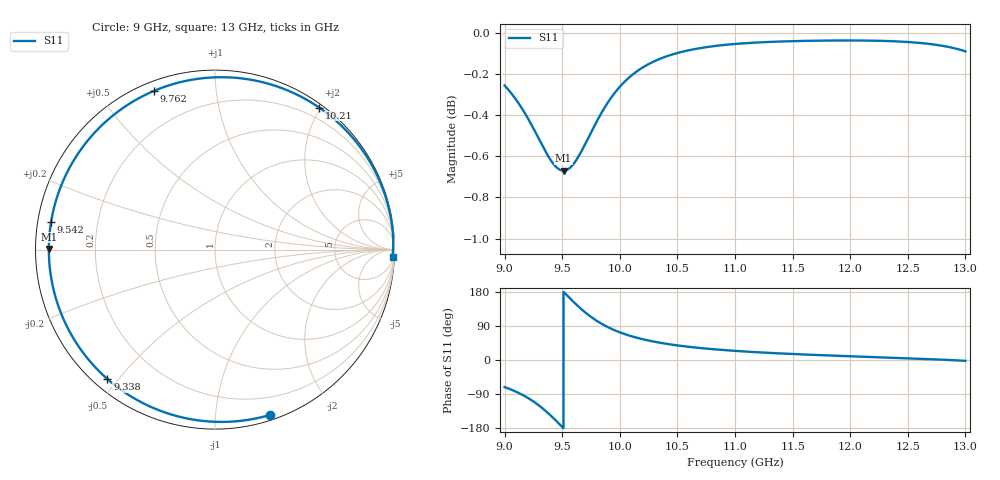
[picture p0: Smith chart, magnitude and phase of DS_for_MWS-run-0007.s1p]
! TOUCHSTONE file generated by CST DESIGN STUDIO
! Date and time: Tue Feb  4 14:23:06 2025
! Project name: C:\Work\MatlabApps\UnitCellOptimizationMatlab\CST\unitcell.cst
! Tree item: Tasks\Sweep1\SPara1\S-Parameters
! Header version: 2024
! Port assignment regex: !\s*Touchstone port\s*([0-9]+)\s*=\s*(CST MWS port|CST DES external port|CST DES block port)\s*(.+)\s* \(\"(.*)\"\)(\s*mode\s*([0-9]+))?.*
! Touchstone port assignment:
! Touchstone port 1 = CST DES external port 1 ("")
# GHz S MA R 50
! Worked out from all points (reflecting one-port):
!   4001 points, 9 GHz to 13 GHz, reference 50 ohm
!   lowest |S11| = -0.7 dB at 9.512 GHz (marker M1), VSWR 25.95, Z = 1.93 + j0.111 ohm
!   phase of S11 starts at -71 deg and turns -291 deg over the sweep
!   S11 on the Smith chart (normalised r, x): 9 GHz: 0.04, -1.39; 9.338 GHz: 0.04, -0.47; 9.542 GHz: 0.04, +0.08; 9.762 GHz: 0.04, +0.68; 10.21 GHz: 0.05, +1.98; 13 GHz: 13, -48
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9  0.971 -71.5
9.093  0.9639 -82.8
9.198  0.9538 -99.4
9.271  0.9455 -113.9
9.338  0.9377 -129.7
9.382  0.933 -141.4
9.427  0.9291 -154.3
9.464  0.9269 -165.4
9.5  0.9259 -176.5
9.512  0.9258 179.7
9.542  0.9262 170.4
9.595  0.929 154.3
9.656  0.9347 137.0
9.708  0.9407 123.6
9.762  0.9472 111.2
9.811  0.953 101.3
9.865  0.9588 91.7
10  0.9703 73.0
10.101  0.9764 62.7
10.215  0.9815 53.7
10.346  0.9855 45.7
10.5  0.9888 38.5
10.721  0.9918 30.9
11  0.9938 24.1
11.5  0.9954 15.8
12  0.9958 9.9
12.5  0.9949 4.6
13  0.9897 -2.2
